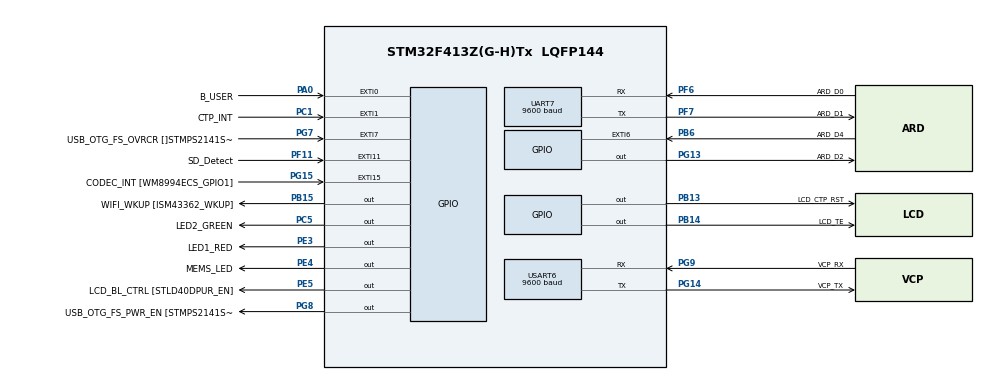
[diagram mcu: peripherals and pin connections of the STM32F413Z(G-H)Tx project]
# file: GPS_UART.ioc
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Mcu.Family=STM32F4
Mcu.Name=STM32F413Z(G-H)Tx
Mcu.Package=LQFP144
NVIC.PriorityGroup=NVIC_PRIORITYGROUP_4
NVIC.UART7_IRQn=true\:0\:0\:false\:false\:true\:true\:true\:true
NVIC.USART6_IRQn=true\:0\:0\:false\:false\:true\:true\:true\:true
PA0.GPIO_Label=B_USER
PA0.Signal=GPXTI0
PA1.GPIO_Label=ARD_A1
PA1.Signal=ADCx_IN1
PA10.GPIO_Label=USB_OTG_FS_ID
PA10.Signal=USB_OTG_FS_ID
PA11.GPIO_Label=USB_OTG_FS_DM
PA11.Signal=USB_OTG_FS_DM
PA12.GPIO_Label=USB_OTG_FS_DP
PA12.Signal=USB_OTG_FS_DP
PA13.GPIO_Label=STLINK_JTMS_SWDIO
PA13.Mode=Serial_Wire
PA13.Signal=SYS_JTMS-SWDIO
PA14.GPIO_Label=STLINK_JTMS_SWCLK
PA14.Mode=Serial_Wire
PA14.Signal=SYS_JTCK-SWCLK
PA15.GPIO_Label=ARD_D10
PA15.Signal=S_TIM2_CH1_ETR
PA2.GPIO_Label=ARD_A2
PA2.Signal=ADCx_IN2
PA3.GPIO_Label=CODEC_MCK [WM8994ECS_MCLK1]
PA3.Signal=I2S2_MCK
PA4.GPIO_Label=ARD_D8
PA4.Signal=COMP_DAC1_group
PA5.GPIO_Label=ARD_A3
PA5.Signal=ADCx_IN5
PA6.GPIO_Label=SD_CMD
PA6.Signal=SDIO_CMD
PA7.GPIO_Label=DFSDM2_DATIN1
PA7.Signal=S_DATAIN1DFSDM2
PA8.GPIO_Label=DFSDM1_CKOUT
PA8.Signal=S_CKOUTDFSDM1
PA9.GPIO_Label=USB_OTG_FS_VBUS
PA9.Signal=USB_OTG_FS_VBUS
PB0.GPIO_Label=ARD_D6
PB0.Signal=S_TIM3_CH3
PB1.GPIO_Label=ARD_A4
PB1.Signal=ADCx_IN9
PB10.GPIO_Label=ARD_D15
PB10.Signal=I2C2_SCL
PB11.GPIO_Label=ARD_D14
PB11.Signal=I2C2_SDA
PB12.GPIO_Label=ARD_D13 [ISM43362_SCK]
PB12.Signal=SPI3_SCK
PB13.GPIO_Label=LCD_CTP_RST
PB13.Signal=GPIO_Output
PB14.GPIO_Label=LCD_TE
PB14.Signal=GPIO_Output
PB15.GPIO_Label=WIFI_WKUP [ISM43362_WKUP]
PB15.Signal=GPIO_Output
PB2.GPIO_Label=QSPI_CLK [N25Q128A13EF840F_C]
PB2.Signal=QUADSPI_CLK
PB3.GPIO_Label=STLINK_JTDO_SWCLK
PB3.Signal=SYS_JTDO-SWO
PB4.GPIO_Label=ARD_D12 [ISM43362_MISO]
PB4.Signal=SPI3_MISO
PB5.GPIO_Label=ARD_D11 [ISM43362_MOSI]
PB5.Signal=SPI3_MOSI
PB6.GPIO_Label=ARD_D4
PB6.Signal=GPXTI6
PB7.GPIO_Label=DFSDM2_DATIN7
PB7.Signal=S_DATAIN7DFSDM2
PB8.GPIO_Label=ARD_D9
PB8.Signal=S_TIM4_CH3
PB9.GPIO_Label=CODEC_WS [WM8994ECS_LRCLK1]
PB9.Signal=I2S2_WS
PC0.GPIO_Label=ARD_A0
PC0.Signal=ADCx_IN10
PC1.GPIO_Label=CTP_INT
PC1.Signal=GPXTI1
PC10.GPIO_Label=SD_D2
PC10.Signal=SDIO_D2
PC11.GPIO_Label=SD_D3
PC11.Signal=SDIO_D3
PC12.GPIO_Label=SD_CLK
PC12.Signal=SDIO_CK
PC14-OSC32_IN.GPIO_Label=OSC32_IN
PC14-OSC32_IN.Mode=LSE-External-Oscillator
PC14-OSC32_IN.Signal=RCC_OSC32_IN
PC15-OSC32_OUT.GPIO_Label=OSC32_OUT
PC15-OSC32_OUT.Mode=LSE-External-Oscillator
PC15-OSC32_OUT.Signal=RCC_OSC32_OUT
PC2.GPIO_Label=CODEC_ext_SD [WM8994ECS_ADC_DAT1]
PC2.Signal=I2S2_ext_SD
PC3.GPIO_Label=CODEC_SD [WM8994ECS_DACDAT1]
PC3.Signal=I2S2_SD
PC4.GPIO_Label=ARD_A5
PC4.Signal=ADCx_IN14
PC5.GPIO_Label=LED2_GREEN
PC5.Signal=GPIO_Output
PC6.GPIO_Label=I2CFMP1_SCL [WM8994ECS_CLK]
PC6.Signal=FMPI2C1_SCL
PC7.GPIO_Label=I2CFMP_SDA [WM8994ECS_SDA]
PC7.Signal=FMPI2C1_SDA
PC8.GPIO_Label=SD_D0
PC8.Signal=SDIO_D0
PC9.GPIO_Label=SD_D1
PC9.Signal=SDIO_D1
PD0.GPIO_Label=LCD_PSRAM_D2
PD0.Signal=FSMC_D2_DA2
PD1.GPIO_Label=LCD_PSRAM_D3
PD1.Signal=FSMC_D3_DA3
PD10.GPIO_Label=LCd_PSRAM_D15
PD10.Signal=FSMC_D15_DA15
PD11.GPIO_Label=PSRAM_A16 [IS66WV51216EBLL_A16]
PD11.Signal=FSMC_A16
PD12.GPIO_Label=PSRAM_A17 [IS66WV51216EBLL_A17]
PD12.Signal=FSMC_A17
PD13.GPIO_Label=QSPI_BK1_IO3 [N25Q128A13EF840F_DQ3]
PD13.Signal=QUADSPI_BK1_IO3
PD14.GPIO_Label=LCD_PSRAM_D0
PD14.Signal=FSMC_D0_DA0
PD15.GPIO_Label=LCD_PSRAM_D1
PD15.Signal=FSMC_D1_DA1
PD2.GPIO_Label=DFSDM2_CKOUT
PD2.Signal=S_CKOUTDFSDM2
PD3.GPIO_Label=CODEC_CK [WM8994ECS_BCLK1]
PD3.Signal=I2S2_CK
PD4.GPIO_Label=LCD_PSRAM_NOE
PD4.Signal=FSMC_NOE
PD5.GPIO_Label=LCD_PSRAM_NWE
PD5.Signal=FSMC_NWE
PD6.GPIO_Label=DFSDM1_DATIN1
PD6.Signal=S_DATAIN1DFSDM1
PD7.GPIO_Label=PSRAM_NE1 [IS66WV51216EBLL_CS1]
PD7.Signal=FSMC_NE1
PD8.GPIO_Label=LCD_PSRAM_D13
PD8.Signal=FSMC_D13_DA13
PD9.GPIO_Label=LCD_PSRAM_D14
PD9.Signal=FSMC_D14_DA14
PE0.GPIO_Label=PSRAM_NBL0 [IS66WV51216EBLL_LB]
PE0.Signal=FSMC_NBL0
PE1.GPIO_Label=PSRAM_NBL1 [IS66WV51216EBLL_UB]
PE1.Signal=FSMC_NBL1
PE10.GPIO_Label=LCD_PSRAM_D7
PE10.Signal=FSMC_D7_DA7
PE11.GPIO_Label=LCD_PSRAM_D8
PE11.Signal=FSMC_D8_DA8
PE12.GPIO_Label=LCD_PSRAM_D9
PE12.Signal=FSMC_D9_DA9
PE13.GPIO_Label=LCD_PSRAM_D10
PE13.Signal=FSMC_D10_DA10
PE14.GPIO_Label=LCD_PSRAM_D11
PE14.Signal=FSMC_D11_DA11
PE15.GPIO_Label=LCD_PSRAM_D12
PE15.Signal=FSMC_D12_DA12
PE2.GPIO_Label=QSPI_BK1_IO2 [N25Q128A13EF840F_DQ2]
PE2.Signal=QUADSPI_BK1_IO2
PE3.GPIO_Label=LED1_RED
PE3.Signal=GPIO_Output
PE4.GPIO_Label=MEMS_LED
PE4.Signal=GPIO_Output
PE5.GPIO_Label=LCD_BL_CTRL [STLD40DPUR_EN]
PE5.Signal=GPIO_Output
PE6.GPIO_Label=ARD_D5
PE6.Signal=S_TIM9_CH2
PE7.GPIO_Label=LCD_PSRAM_D4
PE7.Signal=FSMC_D4_DA4
PE8.GPIO_Label=LCD_PSRAM_D5
PE8.Signal=FSMC_D5_DA5
PE9.GPIO_Label=LCD_PSRAM_D6
PE9.Signal=FSMC_D6_DA6
PF0.GPIO_Label=PSRAM_A0 [IS66WV51216EBLL_A0]
PF0.Signal=FSMC_A0
PF1.GPIO_Label=PSRAM_A1 [IS66WV51216EBLL_A1]
PF1.Signal=FSMC_A1
PF10.GPIO_Label=ARD_D3
PF10.Signal=S_TIM5_CH4
PF11.GPIO_Label=SD_Detect
PF11.Signal=GPXTI11
PF12.GPIO_Label=PSRAM_A6 [IS66WV51216EBLL_A6]
PF12.Signal=FSMC_A6
PF13.GPIO_Label=PSRAM_A7 [IS66WV51216EBLL_A7]
PF13.Signal=FSMC_A7
PF14.GPIO_Label=PSRAM_A8 [IS66WV51216EBLL_A8]
PF14.Signal=FSMC_A8
PF15.GPIO_Label=PSRAM_A9 [IS66WV51216EBLL_A9]
PF15.Signal=FSMC_A9
PF2.GPIO_Label=PSRAM_A2 [IS66WV51216EBLL_A2]
PF2.Signal=FSMC_A2
PF3.GPIO_Label=PSRAM_A3 [IS66WV51216EBLL_A3]
PF3.Signal=FSMC_A3
PF4.GPIO_Label=PSRAM_A4 [IS66WV51216EBLL_A4]
PF4.Signal=FSMC_A4
PF5.GPIO_Label=PSRAM_A5 [IS66WV51216EBLL_A5]
PF5.Signal=FSMC_A5
PF6.GPIO_Label=ARD_D0
PF6.Mode=Asynchronous
PF6.Signal=UART7_RX
PF7.GPIO_Label=ARD_D1
PF7.Mode=Asynchronous
PF7.Signal=UART7_TX
PF8.GPIO_Label=QSPI_BK1_IO0 [N25Q128A13EF840F_DQ0]
PF8.Signal=QUADSPI_BK1_IO0
PF9.GPIO_Label=QSPI_BK1_IO1 [N25Q128A13EF840F_DQ1]
PF9.Signal=QUADSPI_BK1_IO1
PG0.GPIO_Label=PSRAM_A10 [IS66WV51216EBLL_A10]
PG0.Signal=FSMC_A10
PG1.GPIO_Label=PSRAM_A11 [IS66WV51216EBLL_A11]
PG1.Signal=FSMC_A11
PG10.GPIO_Label=LCD_NE3
PG10.Signal=FSMC_NE3
PG11.GPIO_Label=WIFI_SPI_CSN [ISM43362_SPI_CS]
PG11.Signal=UART10_RX
PG12.GPIO_Label=WIFI_DRDY [ISM43362_DRDY]
PG12.Signal=UART10_TX
PG13.GPIO_Label=ARD_D2
PG13.Signal=GPIO_Output
PG14.GPIO_Label=VCP_TX
PG14.Mode=Asynchronous
PG14.Signal=USART6_TX
PG15.GPIO_Label=CODEC_INT [WM8994ECS_GPIO1]
PG15.Signal=GPXTI15
PG2.GPIO_Label=PSRAM_A12 [IS66WV51216EBLL_A12]
PG2.Signal=FSMC_A12
PG3.GPIO_Label=PSRAM_A13 [IS66WV51216EBLL_A13]
PG3.Signal=FSMC_A13
PG4.GPIO_Label=PSRAM_A14 [IS66WV51216EBLL_A14]
PG4.Signal=FSMC_A14
PG5.GPIO_Label=PSRAM_A15 [IS66WV51216EBLL_A15]
PG5.Signal=FSMC_A15
PG6.GPIO_Label=QSPI_BK1_NCS [N25Q128A13EF840F_S]
PG6.Signal=QUADSPI_BK1_NCS
PG7.GPIO_Label=USB_OTG_FS_OVRCR []STMPS2141STR_FAULT]
PG7.Signal=GPXTI7
PG8.GPIO_Label=USB_OTG_FS_PWR_EN [STMPS2141STR_EN]
PG8.Signal=GPIO_Output
PG9.GPIO_Label=VCP_RX
PG9.Mode=Asynchronous
PG9.Signal=USART6_RX
PH0\ -\ OSC_IN.GPIO_Label=STLK_MCO
PH0\ -\ OSC_IN.Mode=HSE-External-Oscillator
PH0\ -\ OSC_IN.Signal=RCC_OSC_IN
PH1\ -\ OSC_OUT.GPIO_Label=WIFI_RST [ISM43362_RSTN]
PH1\ -\ OSC_OUT.Mode=HSE-External-Oscillator
PH1\ -\ OSC_OUT.Signal=RCC_OSC_OUT
ProjectManager.HeapSize=0x200
ProjectManager.StackSize=0x400
ProjectManager.TargetToolchain=STM32CubeIDE
RCC.CortexFreq_Value=16000000
RCC.PLLI2SM=12
RCC.PLLI2SN=50
RCC.PLLM=15
RCC.PLLN=144
RCC.PLLQ=5
RCC.PLLSourceVirtual=RCC_PLLSOURCE_HSE
RCC.SDIOCLockSelection=RCC_SDIOCLKSOURCE_SYSCLK
RCC.USBFreq_Value=48000000
RCC.VCOOutputFreq_Value=240000000
SH.ADCx_IN1.0=ADC1_IN1
SH.ADCx_IN10.0=ADC1_IN10
SH.ADCx_IN14.0=ADC1_IN14
SH.ADCx_IN2.0=ADC1_IN2
SH.ADCx_IN5.0=ADC1_IN5
SH.ADCx_IN9.0=ADC1_IN9
SH.COMP_DAC1_group.0=DAC_OUT1
SH.FSMC_A0.0=FSMC_A0
SH.FSMC_A1.0=FSMC_A1
SH.FSMC_A10.0=FSMC_A10
SH.FSMC_A11.0=FSMC_A11
SH.FSMC_A12.0=FSMC_A12
SH.FSMC_A13.0=FSMC_A13
SH.FSMC_A14.0=FSMC_A14
SH.FSMC_A15.0=FSMC_A15
SH.FSMC_A16.0=FSMC_A16
SH.FSMC_A17.0=FSMC_A17
SH.FSMC_A2.0=FSMC_A2
SH.FSMC_A3.0=FSMC_A3
SH.FSMC_A4.0=FSMC_A4
SH.FSMC_A5.0=FSMC_A5
SH.FSMC_A6.0=FSMC_A6
SH.FSMC_A7.0=FSMC_A7
SH.FSMC_A8.0=FSMC_A8
SH.FSMC_A9.0=FSMC_A9
SH.FSMC_D0_DA0.0=FSMC_D0
SH.FSMC_D10_DA10.0=FSMC_D10
SH.FSMC_D11_DA11.0=FSMC_D11
SH.FSMC_D12_DA12.0=FSMC_D12
SH.FSMC_D13_DA13.0=FSMC_D13
SH.FSMC_D14_DA14.0=FSMC_D14
SH.FSMC_D15_DA15.0=FSMC_D15
SH.FSMC_D1_DA1.0=FSMC_D1
SH.FSMC_D2_DA2.0=FSMC_D2
SH.FSMC_D3_DA3.0=FSMC_D3
SH.FSMC_D4_DA4.0=FSMC_D4
SH.FSMC_D5_DA5.0=FSMC_D5
SH.FSMC_D6_DA6.0=FSMC_D6
SH.FSMC_D7_DA7.0=FSMC_D7
SH.FSMC_D8_DA8.0=FSMC_D8
SH.FSMC_D9_DA9.0=FSMC_D9
SH.FSMC_NBL0.0=FSMC_NBL0
SH.FSMC_NBL1.0=FSMC_NBL1
SH.FSMC_NOE.0=FSMC_NOE
SH.FSMC_NWE.0=FSMC_NWE
SH.S_CKOUTDFSDM1.0=DFSDM1_CKOUT
SH.S_CKOUTDFSDM2.0=DFSDM2_CKOUT
SH.S_DATAIN1DFSDM1.0=DFSDM1_DATIN1
SH.S_DATAIN1DFSDM2.0=DFSDM2_DATIN1
SH.S_DATAIN7DFSDM2.0=DFSDM2_DATIN7
SH.S_TIM2_CH1_ETR.0=TIM2_CH1
SH.S_TIM3_CH3.0=TIM3_CH3
SH.S_TIM4_CH3.0=TIM4_CH3
SH.S_TIM5_CH4.0=TIM5_CH4
SH.S_TIM9_CH2.0=TIM9_CH2
UART7.BaudRate=9600
UART7.VirtualMode=Asynchronous
USART6.BaudRate=9600
USART6.VirtualMode=VM_ASYNC
board=STM32F413H-DISCO

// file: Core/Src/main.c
/* USER CODE BEGIN Header */
/**
  ******************************************************************************
  * @file           : main.c
  * @brief          : Main program body
  ******************************************************************************
  * @attention
  *
  * Copyright (c) 2024 STMicroelectronics.
  * All rights reserved.
  *
  * This software is licensed under terms that can be found in the LICENSE file
  * in the root directory of this software component.
  * If no LICENSE file comes with this software, it is provided AS-IS.
  *
  ******************************************************************************
  */
/* USER CODE END Header */
#include "main.h"
#include "usart.h"
#include "gpio.h"

/* USER CODE BEGIN Includes */
#include <stdio.h>
#include "uartRingBuffer.h"
#include "NMEA.h"
#include <string.h>
/* USER CODE END Includes */

void SystemClock_Config(void);

/* USER CODE BEGIN 0 */

char GGA[100];
char RMC[100];

GPSSTRUCT gpsData;

int flagGGA = 0, flagRMC = 0;
char lcdBuffer [50]={"dhjksdh"};

int VCCTimeout = 5000; // GGA or RMC will not be received if the VCC is not sufficient

/* USER CODE END 0 */

int main(void)
{

  /* MCU Configuration--------------------------------------------------------*/

  /* Reset of all peripherals, Initializes the Flash interface and the Systick. */
  HAL_Init();

  /* Configure the system clock */
  SystemClock_Config();

  /* Initialize all configured peripherals */
  MX_GPIO_Init();
  MX_USART6_UART_Init();
  MX_UART7_Init();
  /* USER CODE BEGIN 2 */

  Ringbuf_init();//initializing Ring buffer
  HAL_Delay (500);

  /* USER CODE END 2 */

  /* Infinite loop */
  while (1)
  {

    /* USER CODE BEGIN 3 */
	 // printf("Test\n");

/*	  if(IsDataAvailable())
	  {
	  int data = Uart_read();
	  Uart_write(data);
	  }
	  */
	  HAL_Delay (500);
     printf(lcdBuffer);

	  if (Wait_for("GGA") == 1)
	 	  {

	 		  VCCTimeout = 5000;  // Reset the VCC Timeout indicating the GGA is being received

	 		  Copy_upto("*", GGA);
	 		  if (decodeGGA(GGA, &gpsData.ggastruct) == 0) flagGGA = 2;  // 2 indicates the data is valid
	 		  else flagGGA = 1;  // 1 indicates the data is invalid
	 	  }

	  if (Wait_for("RMC") == 1)
	  	  {

	  		  VCCTimeout = 5000;  // Reset the VCC Timeout indicating the RMC is being received

	  		  Copy_upto("*", RMC);
	  		  if (decodeRMC(RMC, &gpsData.rmcstruct) == 0) flagRMC = 2;  // 2 indicates the data is valid
	  		  else flagRMC = 1;  // 1 indicates the data is invalid
	  	  }
	  if ((flagGGA == 2) | (flagRMC == 2))
	 	  {

	 		  sprintf (lcdBuffer, "%02d:%02d:%02d, %02d%02d%02d", gpsData.ggastruct.tim.hour, \
	 				  gpsData.ggastruct.tim.min, gpsData.ggastruct.tim.sec, gpsData.rmcstruct.date.Day, \
	 				  gpsData.rmcstruct.date.Mon, gpsData.rmcstruct.date.Yr);
	 		  printf("%s\n",lcdBuffer);
	 		  memset(lcdBuffer, '\0', 50);

	 		  sprintf (lcdBuffer, "%.2f%c, %.2f%c  ", gpsData.ggastruct.lcation.latitude, gpsData.ggastruct.lcation.NS,\
	 				  gpsData.ggastruct.lcation.longitude, gpsData.ggastruct.lcation.EW);
	 		 printf("%s\n",lcdBuffer);
	 	  }
	  else if ((flagGGA == 1) | (flagRMC == 1))
	  	  {
	  		  // Instead of clearing the display, it's better if we print spaces.
	  		  // This will avoid the "refreshing" part

	  		 printf("   NO FIX YET  \n ");

	  		  printf("   Please wait  \n");
	  	  }
	  if (VCCTimeout <= 0)
	 	  {
	 		  VCCTimeout = 5000;  // Reset the timeout

	 		  //reset flags
	 		  flagGGA =flagRMC =0;

	 		  // You are here means the VCC is less, or maybe there is some connection issue
	 		  // Check the VCC, also you can try connecting to the external 5V

	 		  printf("    VCC Issue   \n");

	 		  printf("Check Connection\n");
	 	  }
  }
  /* USER CODE END 3 */
}

void SystemClock_Config(void)
{
  RCC_OscInitTypeDef RCC_OscInitStruct = {0};
  RCC_ClkInitTypeDef RCC_ClkInitStruct = {0};

  /** Configure the main internal regulator output voltage
  */
  __HAL_RCC_PWR_CLK_ENABLE();
  __HAL_PWR_VOLTAGESCALING_CONFIG(PWR_REGULATOR_VOLTAGE_SCALE1);

  /** Initializes the RCC Oscillators according to the specified parameters
  * in the RCC_OscInitTypeDef structure.
  */
  RCC_OscInitStruct.OscillatorType = RCC_OSCILLATORTYPE_HSI;
  RCC_OscInitStruct.HSIState = RCC_HSI_ON;
  RCC_OscInitStruct.HSICalibrationValue = RCC_HSICALIBRATION_DEFAULT;
  RCC_OscInitStruct.PLL.PLLState = RCC_PLL_NONE;
  if (HAL_RCC_OscConfig(&RCC_OscInitStruct) != HAL_OK)
  {
    Error_Handler();
  }

  /** Initializes the CPU, AHB and APB buses clocks
  */
  RCC_ClkInitStruct.ClockType = RCC_CLOCKTYPE_HCLK|RCC_CLOCKTYPE_SYSCLK
                              |RCC_CLOCKTYPE_PCLK1|RCC_CLOCKTYPE_PCLK2;
  RCC_ClkInitStruct.SYSCLKSource = RCC_SYSCLKSOURCE_HSI;
  RCC_ClkInitStruct.AHBCLKDivider = RCC_SYSCLK_DIV1;
  RCC_ClkInitStruct.APB1CLKDivider = RCC_HCLK_DIV1;
  RCC_ClkInitStruct.APB2CLKDivider = RCC_HCLK_DIV1;

  if (HAL_RCC_ClockConfig(&RCC_ClkInitStruct, FLASH_LATENCY_0) != HAL_OK)
  {
    Error_Handler();
  }
}

void Error_Handler(void)
{
  __disable_irq();
  while (1)
  {
  }
}
